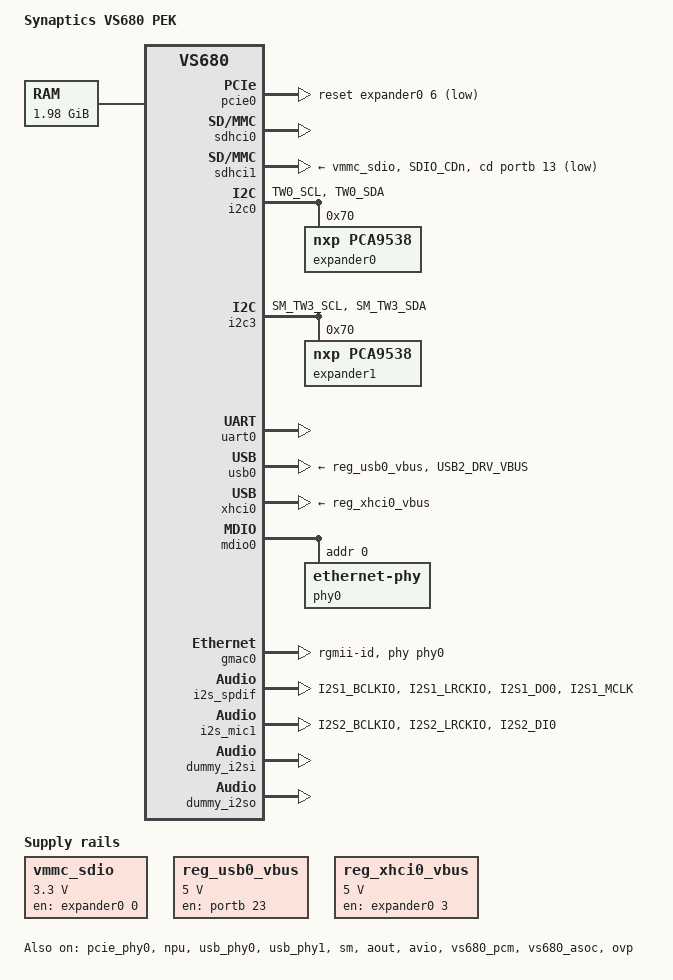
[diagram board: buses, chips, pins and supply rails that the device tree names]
// SPDX-License-Identifier: (GPL-2.0 OR MIT)
/*
 * Copyright (C) 2020 Synaptics Incorporated
 *
 * Author: Jisheng Zhang <jszhang@kernel.org>
 */

/dts-v1/;

/memreserve/ 0x7f000000 0x01000000;

#include <dt-bindings/gpio/gpio.h>

#include "vs680-a0.dtsi"

/ {
	model = "Synaptics VS680 PEK";
	compatible = "syna,vs680-pek", "syna,vs680";

	chosen {
		stdout-path = "serial0:115200n8";
	};

	memory {
		device_type = "memory";
		reg = <0 0x01000000 0 0x7f000000>;
	};

	ion {
		compatible = "syna,ion-berlin-heaps";
		pool-num = <2>;
		reg-names = "NonSecure", "Secure";
		reg = <0 0x7f000000 0 0x00800000>,
		      <0 0x7f800000 0 0x00800000>;
		attributes-num-per-pool = <2>;
		pool-attributes = <0x00000105 0x00000F3A 0x00000102 0x00000F3D>;
	};

	regulators {
		compatible = "simple-bus";
		#address-cells = <1>;
		#size-cells = <0>;

		vmmc_sdio: vmmc_sdio {
			compatible = "regulator-fixed";
			regulator-min-microvolt = <3300000>;
			regulator-max-microvolt = <3300000>;
			regulator-name = "vmmc_sdio";
			enable-active-high;
			gpio = <&expander0 0 GPIO_ACTIVE_HIGH>;
		};

		reg_usb0_vbus: usb0_vbus {
			compatible = "regulator-fixed";
			regulator-name = "usb0_vbus";
			regulator-min-microvolt = <5000000>;
			regulator-max-microvolt = <5000000>;
			gpio = <&portb 23 GPIO_ACTIVE_HIGH>;
			enable-active-high;
		};

		reg_xhci0_vbus: xhci0_vbus {
			compatible = "regulator-fixed";
			regulator-name = "xhci0_vbus";
			regulator-min-microvolt = <5000000>;
			regulator-max-microvolt = <5000000>;
			gpio = <&expander0 3 GPIO_ACTIVE_HIGH>;
			enable-active-high;
		};
	};
};

&cpu0 {
	/delete-property/ operating-points-v2;
};

&pinctrl {
	i2c0_pmux: i2c0-pmux {
		groups = "TW0_SCL", "TW0_SDA";
		function = "tw0";
	};

	sdio_pmux: sdio-pmux {
		groups = "SDIO_CDn";
		function = "gpio";
	};

	usb2_pmux: usb2-pmux {
		groups = "USB2_DRV_VBUS";
		function = "gpio";
	};
};

&sm_pinctrl {
	i2c3_pmux: i2c3-pmux {
		groups = "SM_TW3_SCL", "SM_TW3_SDA";
		function = "tw3";
	};
};

&pcie_phy0 {
	status = "okay";
};

&pcie0 {
	status = "okay";
	reset-gpios = <&expander0 6 GPIO_ACTIVE_LOW>;
	power-gpios = <&expander0 5 GPIO_ACTIVE_HIGH>;
};

&avio_pinctrl {
	i2s1_pmux: i2s1-pmux {
		groups = "I2S1_BCLKIO", "I2S1_LRCKIO", "I2S1_DO0", "I2S1_MCLK";
		function = "i2s1";
	};

	i2s2_pmux: i2s2-pmux {
		groups = "I2S2_BCLKIO", "I2S2_LRCKIO", "I2S2_DI0";
		function = "i2s2";
	};
};

&sdhci0 {
	status = "okay";
	/delete-property/ mmc-ddr-1_8v;
	/delete-property/ mmc-hs200-1_8v;
	no-1-8-v;
};

&sdhci1 {
	status = "okay";
	wp-inverted;
	cd-gpios = <&portb 13 GPIO_ACTIVE_LOW>;
	vmmc-supply = <&vmmc_sdio>;
	pinctrl-0 = <&sdio_pmux>;
	pinctrl-names = "default";
};

&i2c0 {
	status = "okay";
	pinctrl-names = "default";
	pinctrl-0 = <&i2c0_pmux>;
	no-irq-suspend;

	expander0: gpio@70 {
		compatible = "nxp,pca9538";
		reg = <0x70>;
		gpio-controller;
		#gpio-cells = <2>;
	};
};

&i2c3 {
	status = "okay";
	pinctrl-names = "default";
	pinctrl-0 = <&i2c3_pmux>;
	no-irq-suspend;

	expander1: gpio@70 {
		compatible = "nxp,pca9538";
		reg = <0x70>;
		gpio-controller;
		#gpio-cells = <2>;
		sys_rstn {
			gpio-hog;
			gpios = <0 GPIO_ACTIVE_HIGH>;
			output-low;
		};
	};
};

&uart0 {
	status = "okay";
};

&npu {
	status = "okay";
};

&usb0 {
	pinctrl-names = "default";
	pinctrl-0 = <&usb2_pmux>;
	vbus-supply = <&reg_usb0_vbus>;
	status = "okay";
};

&usb_phy0  {
	status = "okay";
};

&xhci0 {
	vbus-supply = <&reg_xhci0_vbus>;
	status = "okay";
};

&usb_phy1  {
	status = "okay";
};

&mdio0 {
	phy0: ethernet-phy@0 {
		reg = <0>;
	};
};

&gmac0 {
	status = "okay";
	phy-handle = <&phy0>;
	phy-mode = "rgmii-id";
};

&sm {
	status = "okay";
};

&aout {
	status = "okay";
};

&avio {
	status = "okay";
};

&i2s_spdif {
	status = "okay";
	pinctrl-0 = <&i2s1_pmux>;
	pinctrl-names = "default";
	interrupts = <0>;
	interrupt-names = "pri";
};

&i2s_mic1 {
	status = "okay";
	pinctrl-0 = <&i2s2_pmux>;
	pinctrl-names = "default";
	invertfsync;
	disablemicmute;
	intlmode;
};

&vs680_pcm {
	status = "okay";
};

&vs680_asoc {
	status = "okay";

	dummy_i2si: dummy-i2si {
		status = "okay";
		stream-name = "dummy-i2si";
		link-name = "dummy-i2si";
		format = "i2s";
		cpu-node = <&i2s_mic1>;
		codec-name = "snd-soc-dummy";
		codec-dai-name = "snd-soc-dummy-dai";
		platform-node = <&vs680_pcm>;
	};

	dummy_i2so: dummy-i2so {
		status = "okay";
		stream-name = "dummy-i2so";
		link-name = "dummy-i2so";
		format = "i2s";
		cpu-node = <&i2s_spdif>;
		codec-name = "snd-soc-dummy";
		codec-dai-name = "snd-soc-dummy-dai";
		platform-node = <&vs680_pcm>;
	};
};

&ovp {
	status = "okay";
};
